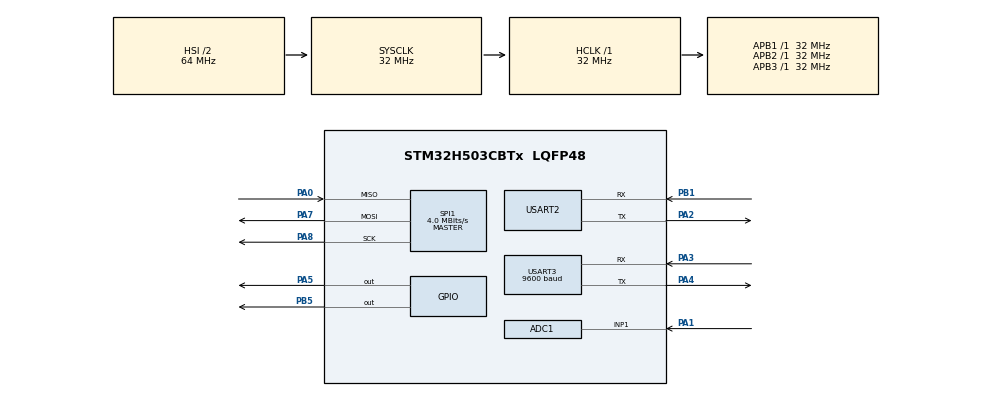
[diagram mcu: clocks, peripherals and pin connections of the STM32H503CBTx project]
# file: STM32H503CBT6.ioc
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ADC1.Channel-1\#ChannelRegularConversion=ADC_CHANNEL_1
ADC1.ContinuousConvMode=ENABLE
ADC1.MonitoredBy-1\#ChannelRegularConversion=__NULL
ADC1.NbrOfConversionFlag=1
ADC1.OffsetNumber-1\#ChannelRegularConversion=ADC_OFFSET_NONE
ADC1.Rank-1\#ChannelRegularConversion=1
ADC1.Resolution=ADC_RESOLUTION_12B
ADC1.SamplingTime-1\#ChannelRegularConversion=ADC_SAMPLETIME_2CYCLES_5
ADC1.master=1
BOOTPATH.BootPathName=LEGACY
BOOTPATH.UserSelectedBootPath=LEGACY
GPDMA1.LINKEDLISTMODE_GPDMACH1=DMA_LINKEDLIST_CIRCULAR
GPDMA1.LINKSTEPMODE_GPDMACH1=DMA_LSM_1LINK_EXECUTION
GPDMA1.PRIORITY_LL_GPDMACH1=DMA_LOW_PRIORITY_HIGH_WEIGHT
Linkedlist.MDMA_Channel0.GP_SW.0.ADDRESSING2D=DISABLE
Linkedlist.MDMA_Channel0.GP_SW.0.BlkHWRequest=DMA_BREQ_SINGLE_BURST
Linkedlist.MDMA_Channel0.GP_SW.0.DataHandling=NONE
Linkedlist.MDMA_Channel0.GP_SW.0.DataSize=0
Linkedlist.MDMA_Channel0.GP_SW.0.DestBurstLength=1
Linkedlist.MDMA_Channel0.GP_SW.0.DestDataWidth=DMA_DEST_DATAWIDTH_BYTE
Linkedlist.MDMA_Channel0.GP_SW.0.DestInc=DMA_DINC_FIXED
Linkedlist.MDMA_Channel0.GP_SW.0.Direction=DMA_MEMORY_TO_MEMORY
Linkedlist.MDMA_Channel0.GP_SW.0.DstAddress=0
Linkedlist.MDMA_Channel0.GP_SW.0.Instance=MDMA_Channel0
Linkedlist.MDMA_Channel0.GP_SW.0.LL_MASTERDMA=GPDMA1_2D
Linkedlist.MDMA_Channel0.GP_SW.0.LL_NAME=YourQueueName
Linkedlist.MDMA_Channel0.GP_SW.0.LL_TYPE=LINEAR
Linkedlist.MDMA_Channel0.GP_SW.0.Mode=DMA_NORMAL
Linkedlist.MDMA_Channel0.GP_SW.0.NODE_NAME=YourNodeName
Linkedlist.MDMA_Channel0.GP_SW.0.Requestforcodegen=DMA_REQUEST_SW
Linkedlist.MDMA_Channel0.GP_SW.0.SrcAddress=0
Linkedlist.MDMA_Channel0.GP_SW.0.SrcBurstLength=1
Linkedlist.MDMA_Channel0.GP_SW.0.SrcDataWidth=DMA_SRC_DATAWIDTH_BYTE
Linkedlist.MDMA_Channel0.GP_SW.0.SrcInc=DMA_SINC_FIXED
Linkedlist.MDMA_Channel0.GP_SW.0.TransferAllocatedPortSrc=DMA_SRC_ALLOCATED_PORT0
Linkedlist.MDMA_Channel0.GP_SW.0.TransferEventMode=DMA_TCEM_BLOCK_TRANSFER
Linkedlist.MDMA_Channel0.GP_SW.0.TriggerPolarity=DMA_TRIG_POLARITY_MASKED
Linkedlist.MDMA_Channel0.Request0=GP_SW
Linkedlist.MDMA_Channel0.RequestsNb=1
Linkedlist.RequestSet0=MDMA_Channel0
Linkedlist.RequestSetsNb=1
Mcu.Family=STM32H5
Mcu.Name=STM32H503CBTx
Mcu.Package=LQFP48
NVIC.PriorityGroup=NVIC_PRIORITYGROUP_4
PA0.Mode=Full_Duplex_Master
PA0.Signal=SPI1_MISO
PA1.Signal=ADCx_INP1
PA2.Mode=Asynchronous
PA2.Signal=USART2_TX
PA3.Mode=Asynchronous
PA3.Signal=USART3_RX
PA4.Mode=Asynchronous
PA4.Signal=USART3_TX
PA5.Signal=GPIO_Output
PA7.Mode=Full_Duplex_Master
PA7.Signal=SPI1_MOSI
PA8.Mode=Full_Duplex_Master
PA8.Signal=SPI1_SCK
PB1.Mode=Asynchronous
PB1.Signal=USART2_RX
PB13.Signal=I2C2_SDA
PB3(JTDO/TRACESWO).Signal=I2C2_SCL
PB5.Signal=GPIO_Output
ProjectManager.HeapSize=0x200
ProjectManager.StackSize=0x400
ProjectManager.TargetToolchain=STM32CubeIDE
RCC.ADCFreq_Value=32000000
RCC.AHBFreq_Value=32000000
RCC.APB1Freq_Value=32000000
RCC.APB1TimFreq_Value=32000000
RCC.APB2Freq_Value=32000000
RCC.APB2TimFreq_Value=32000000
RCC.APB3Freq_Value=32000000
RCC.CSI_VALUE=4000000
RCC.CortexFreq_Value=32000000
RCC.EPOD_VALUE=4000000
RCC.HCLKFreq_Value=32000000
RCC.HSE_VALUE=25000000
RCC.HSI48_VALUE=48000000
RCC.HSI_VALUE=64000000
RCC.LSE_VALUE=32768
RCC.LSIRC_VALUE=32000
RCC.PLLN=4
RCC.SYSCLKFreq_VALUE=32000000
RCC.USBFreq_Value=48000000
RCC.VCOOutputFreq_Value=16000000
SBS.VDDIO1=Enable
SBS.VDDIO22=Enable
SH.ADCx_INP1.0=ADC1_INP1,IN1-Single-Ended
SPI1.CalculateBaudRate=4.0 MBits/s
SPI1.Direction=SPI_DIRECTION_2LINES
SPI1.Mode=SPI_MODE_MASTER
SPI1.VirtualType=VM_MASTER
USART2.VirtualMode-Asynchronous=VM_ASYNC
USART3.BaudRate=9600
USART3.VirtualMode-Asynchronous=VM_ASYNC
VP_ADC1_Vref_Input.Mode=IN-Vrefint
VP_BOOTPATH_VS_BOOTPATH.Mode=BP_Activate
VP_CORTEX_M33_NS_VS_Hclk.Mode=Hclk_Mode
VP_GPDMA1_VS_GPDMACH1.Mode=LINKEDLIST_GPDMACH1
VP_GPDMA1_VS_GPDMACH7.Mode=LINKEDLIST_GPDMACH7
VP_MEMORYMAP_VS_MEMORYMAP.Mode=CurAppReg
VP_PWR_VS_DBSignals.Mode=DisableDeadBatterySignals
VP_PWR_VS_LPOM.Mode=PowerOptimisation
VP_PWR_VS_SECSignals.Mode=Security/Privilege
VP_SBS_VS-SBS.Mode=SBS
board=custom

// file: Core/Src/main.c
/* USER CODE BEGIN Header */
/**
 ******************************************************************************
 * @file           : main.c
 * @brief          : Main program body
 ******************************************************************************
 * @attention
 *
 * Copyright (c) 2024 STMicroelectronics.
 * All rights reserved.
 *
 * This software is licensed under terms that can be found in the LICENSE file
 * in the root directory of this software component.
 * If no LICENSE file comes with this software, it is provided AS-IS.
 *
 ******************************************************************************
 */
/* USER CODE END Header */
#include "main.h"

/* USER CODE BEGIN Includes */
#include <math.h>
#include <stdio.h>
#include <string.h>
#include <stdarg.h>
#include "lis2dw12.h"
#define PI 3.14159265
/* USER CODE END Includes */

ADC_HandleTypeDef hadc1;
DMA_HandleTypeDef handle_GPDMA1_Channel7;
DMA_HandleTypeDef handle_GPDMA1_Channel1;
SPI_HandleTypeDef hspi1;
UART_HandleTypeDef huart2;
UART_HandleTypeDef huart3;

void SystemClock_Config(void);
static void MX_GPIO_Init(void);
static void MX_GPDMA1_Init(void);
static void MX_USART2_UART_Init(void);
static void MX_USART3_UART_Init(void);
static void MX_SBS_Init(void);
static void MX_ADC1_Init(void);
static void MX_SPI1_Init(void);
/* USER CODE BEGIN PFP */
void USART3_ReceiveAndProcess(void);
void USART3_SendData(uint8_t *data, uint16_t size);
void run_motor_task(char *hex_string);
/* USER CODE END PFP */

/* USER CODE BEGIN 0 */
uint8_t countertick = 0;
int runMotorTask = 0;
int before;
char m1up[] = "D5D5FF0000020200000000";                         // backrise up
char m1dn[] = "D5D5FF0101000000000000";                         // backrise down
char m2up[] = "D5D5FF0000040400000000";                         // kneerise up
char m2dn[] = "D5D5FF0202000000000000";                         // kneerise down
char mhiloup[] = "D5D5FF0000080800000000";                      // HILO UP
char mhilodn[] = "D5D5FF0404000000000000";                      // HILO down
char mtrendup[] = "D5D5FF0000101000000000";                     // TREND UP
char mtrenddn[] = "D5D5FF0808000000000000";                     // TREND down
char wSetZero[] = "D5D5FF0000404000000000";                     // SET ZERO
//char WBedExitOnOf[] = "D5D5FF0000000040400000";             // BEDEXIT ON OF
char releaseControlBox[] = "D5D5FF0000000000000000";            // Release control box
char loadCellModeControlBox[] = "D5D5FF0000000000003030";       // Load Cell control box

uint16_t readValue;
uint32_t sumADC = 0;
LIS2DW12_Data_t accel_data;

void __io_putchar(char ch) {
	HAL_UART_Transmit(&huart2, (uint8_t *)&ch, 1, HAL_MAX_DELAY);
	//return ch;
}

/* USER CODE END 0 */

int main(void)
{

  /* MCU Configuration--------------------------------------------------------*/

  /* Reset of all peripherals, Initializes the Flash interface and the Systick. */
  HAL_Init();

  /* Configure the system clock */
  SystemClock_Config();

  /* Initialize all configured peripherals */
  MX_GPIO_Init();
  MX_GPDMA1_Init();
  MX_USART2_UART_Init();
  MX_USART3_UART_Init();
  MX_SBS_Init();
  MX_ADC1_Init();
  MX_SPI1_Init();
  /* USER CODE BEGIN 2 */
  //printf("UART3 Polling Example\n");

  // Start UART receive interrupt

  /* USER CODE END 2 */

  /* Infinite loop */
  while (1)
  {

	  /* USER CODE BEGIN 3 */
	  USART3_ReceiveAndProcess();
  }
  /* USER CODE END 3 */
}

void SystemClock_Config(void)
{
  RCC_OscInitTypeDef RCC_OscInitStruct = {0};
  RCC_ClkInitTypeDef RCC_ClkInitStruct = {0};

  /** Configure the main internal regulator output voltage
  */
  __HAL_PWR_VOLTAGESCALING_CONFIG(PWR_REGULATOR_VOLTAGE_SCALE3);

  while(!__HAL_PWR_GET_FLAG(PWR_FLAG_VOSRDY)) {}

  /** Initializes the RCC Oscillators according to the specified parameters
  * in the RCC_OscInitTypeDef structure.
  */
  RCC_OscInitStruct.OscillatorType = RCC_OSCILLATORTYPE_HSI|RCC_OSCILLATORTYPE_CSI;
  RCC_OscInitStruct.HSIState = RCC_HSI_ON;
  RCC_OscInitStruct.HSIDiv = RCC_HSI_DIV2;
  RCC_OscInitStruct.HSICalibrationValue = RCC_HSICALIBRATION_DEFAULT;
  RCC_OscInitStruct.CSIState = RCC_CSI_ON;
  RCC_OscInitStruct.CSICalibrationValue = RCC_CSICALIBRATION_DEFAULT;
  RCC_OscInitStruct.PLL.PLLState = RCC_PLL_ON;
  RCC_OscInitStruct.PLL.PLLSource = RCC_PLL1_SOURCE_CSI;
  RCC_OscInitStruct.PLL.PLLM = 1;
  RCC_OscInitStruct.PLL.PLLN = 4;
  RCC_OscInitStruct.PLL.PLLP = 2;
  RCC_OscInitStruct.PLL.PLLQ = 2;
  RCC_OscInitStruct.PLL.PLLR = 2;
  RCC_OscInitStruct.PLL.PLLRGE = RCC_PLL1_VCIRANGE_2;
  RCC_OscInitStruct.PLL.PLLVCOSEL = RCC_PLL1_VCORANGE_WIDE;
  RCC_OscInitStruct.PLL.PLLFRACN = 0;
  if (HAL_RCC_OscConfig(&RCC_OscInitStruct) != HAL_OK)
  {
    Error_Handler();
  }

  /** Initializes the CPU, AHB and APB buses clocks
  */
  RCC_ClkInitStruct.ClockType = RCC_CLOCKTYPE_HCLK|RCC_CLOCKTYPE_SYSCLK
                              |RCC_CLOCKTYPE_PCLK1|RCC_CLOCKTYPE_PCLK2
                              |RCC_CLOCKTYPE_PCLK3;
  RCC_ClkInitStruct.SYSCLKSource = RCC_SYSCLKSOURCE_HSI;
  RCC_ClkInitStruct.AHBCLKDivider = RCC_SYSCLK_DIV1;
  RCC_ClkInitStruct.APB1CLKDivider = RCC_HCLK_DIV1;
  RCC_ClkInitStruct.APB2CLKDivider = RCC_HCLK_DIV1;
  RCC_ClkInitStruct.APB3CLKDivider = RCC_HCLK_DIV1;

  if (HAL_RCC_ClockConfig(&RCC_ClkInitStruct, FLASH_LATENCY_1) != HAL_OK)
  {
    Error_Handler();
  }

  /** Configure the programming delay
  */
  __HAL_FLASH_SET_PROGRAM_DELAY(FLASH_PROGRAMMING_DELAY_0);
}

static void MX_ADC1_Init(void)
{

  ADC_ChannelConfTypeDef sConfig = {0};

  /** Common config
  */
  hadc1.Instance = ADC1;
  hadc1.Init.ClockPrescaler = ADC_CLOCK_ASYNC_DIV1;
  hadc1.Init.Resolution = ADC_RESOLUTION_12B;
  hadc1.Init.DataAlign = ADC_DATAALIGN_RIGHT;
  hadc1.Init.ScanConvMode = ADC_SCAN_DISABLE;
  hadc1.Init.EOCSelection = ADC_EOC_SINGLE_CONV;
  hadc1.Init.LowPowerAutoWait = DISABLE;
  hadc1.Init.ContinuousConvMode = ENABLE;
  hadc1.Init.NbrOfConversion = 1;
  hadc1.Init.DiscontinuousConvMode = DISABLE;
  hadc1.Init.ExternalTrigConv = ADC_SOFTWARE_START;
  hadc1.Init.ExternalTrigConvEdge = ADC_EXTERNALTRIGCONVEDGE_NONE;
  hadc1.Init.DMAContinuousRequests = DISABLE;
  hadc1.Init.SamplingMode = ADC_SAMPLING_MODE_NORMAL;
  hadc1.Init.Overrun = ADC_OVR_DATA_PRESERVED;
  hadc1.Init.OversamplingMode = DISABLE;
  if (HAL_ADC_Init(&hadc1) != HAL_OK)
  {
    Error_Handler();
  }

  /** Configure Regular Channel
  */
  sConfig.Channel = ADC_CHANNEL_1;
  sConfig.Rank = ADC_REGULAR_RANK_1;
  sConfig.SamplingTime = ADC_SAMPLETIME_2CYCLES_5;
  sConfig.SingleDiff = ADC_SINGLE_ENDED;
  sConfig.OffsetNumber = ADC_OFFSET_NONE;
  sConfig.Offset = 0;
  if (HAL_ADC_ConfigChannel(&hadc1, &sConfig) != HAL_OK)
  {
    Error_Handler();
  }

}

static void MX_GPDMA1_Init(void)
{

  /* Peripheral clock enable */
  __HAL_RCC_GPDMA1_CLK_ENABLE();

  handle_GPDMA1_Channel7.Instance = GPDMA1_Channel7;
  handle_GPDMA1_Channel7.InitLinkedList.Priority = DMA_LOW_PRIORITY_LOW_WEIGHT;
  handle_GPDMA1_Channel7.InitLinkedList.LinkStepMode = DMA_LSM_FULL_EXECUTION;
  handle_GPDMA1_Channel7.InitLinkedList.LinkAllocatedPort = DMA_LINK_ALLOCATED_PORT0;
  handle_GPDMA1_Channel7.InitLinkedList.TransferEventMode = DMA_TCEM_LAST_LL_ITEM_TRANSFER;
  handle_GPDMA1_Channel7.InitLinkedList.LinkedListMode = DMA_LINKEDLIST_NORMAL;
  if (HAL_DMAEx_List_Init(&handle_GPDMA1_Channel7) != HAL_OK)
  {
    Error_Handler();
  }
  if (HAL_DMA_ConfigChannelAttributes(&handle_GPDMA1_Channel7, DMA_CHANNEL_NPRIV) != HAL_OK)
  {
    Error_Handler();
  }
  handle_GPDMA1_Channel1.Instance = GPDMA1_Channel1;
  handle_GPDMA1_Channel1.InitLinkedList.Priority = DMA_LOW_PRIORITY_HIGH_WEIGHT;
  handle_GPDMA1_Channel1.InitLinkedList.LinkStepMode = DMA_LSM_1LINK_EXECUTION;
  handle_GPDMA1_Channel1.InitLinkedList.LinkAllocatedPort = DMA_LINK_ALLOCATED_PORT0;
  handle_GPDMA1_Channel1.InitLinkedList.TransferEventMode = DMA_TCEM_LAST_LL_ITEM_TRANSFER;
  handle_GPDMA1_Channel1.InitLinkedList.LinkedListMode = DMA_LINKEDLIST_CIRCULAR;
  if (HAL_DMAEx_List_Init(&handle_GPDMA1_Channel1) != HAL_OK)
  {
    Error_Handler();
  }
  if (HAL_DMA_ConfigChannelAttributes(&handle_GPDMA1_Channel1, DMA_CHANNEL_NPRIV) != HAL_OK)
  {
    Error_Handler();
  }

}

static void MX_SBS_Init(void)
{

}

static void MX_SPI1_Init(void)
{

  /* SPI1 parameter configuration*/
  hspi1.Instance = SPI1;
  hspi1.Init.Mode = SPI_MODE_MASTER;
  hspi1.Init.Direction = SPI_DIRECTION_2LINES;
  hspi1.Init.DataSize = SPI_DATASIZE_4BIT;
  hspi1.Init.CLKPolarity = SPI_POLARITY_LOW;
  hspi1.Init.CLKPhase = SPI_PHASE_1EDGE;
  hspi1.Init.NSS = SPI_NSS_SOFT;
  hspi1.Init.BaudRatePrescaler = SPI_BAUDRATEPRESCALER_2;
  hspi1.Init.FirstBit = SPI_FIRSTBIT_MSB;
  hspi1.Init.TIMode = SPI_TIMODE_DISABLE;
  hspi1.Init.CRCCalculation = SPI_CRCCALCULATION_DISABLE;
  hspi1.Init.CRCPolynomial = 0x7;
  hspi1.Init.NSSPMode = SPI_NSS_PULSE_ENABLE;
  hspi1.Init.NSSPolarity = SPI_NSS_POLARITY_LOW;
  hspi1.Init.FifoThreshold = SPI_FIFO_THRESHOLD_01DATA;
  hspi1.Init.MasterSSIdleness = SPI_MASTER_SS_IDLENESS_00CYCLE;
  hspi1.Init.MasterInterDataIdleness = SPI_MASTER_INTERDATA_IDLENESS_00CYCLE;
  hspi1.Init.MasterReceiverAutoSusp = SPI_MASTER_RX_AUTOSUSP_DISABLE;
  hspi1.Init.MasterKeepIOState = SPI_MASTER_KEEP_IO_STATE_DISABLE;
  hspi1.Init.IOSwap = SPI_IO_SWAP_DISABLE;
  hspi1.Init.ReadyMasterManagement = SPI_RDY_MASTER_MANAGEMENT_INTERNALLY;
  hspi1.Init.ReadyPolarity = SPI_RDY_POLARITY_HIGH;
  if (HAL_SPI_Init(&hspi1) != HAL_OK)
  {
    Error_Handler();
  }

}

static void MX_USART2_UART_Init(void)
{

  huart2.Instance = USART2;
  huart2.Init.BaudRate = 115200;
  huart2.Init.WordLength = UART_WORDLENGTH_8B;
  huart2.Init.StopBits = UART_STOPBITS_1;
  huart2.Init.Parity = UART_PARITY_NONE;
  huart2.Init.Mode = UART_MODE_TX_RX;
  huart2.Init.HwFlowCtl = UART_HWCONTROL_NONE;
  huart2.Init.OverSampling = UART_OVERSAMPLING_16;
  huart2.Init.OneBitSampling = UART_ONE_BIT_SAMPLE_DISABLE;
  huart2.Init.ClockPrescaler = UART_PRESCALER_DIV1;
  huart2.AdvancedInit.AdvFeatureInit = UART_ADVFEATURE_NO_INIT;
  if (HAL_UART_Init(&huart2) != HAL_OK)
  {
    Error_Handler();
  }
  if (HAL_UARTEx_SetTxFifoThreshold(&huart2, UART_TXFIFO_THRESHOLD_1_8) != HAL_OK)
  {
    Error_Handler();
  }
  if (HAL_UARTEx_SetRxFifoThreshold(&huart2, UART_RXFIFO_THRESHOLD_1_8) != HAL_OK)
  {
    Error_Handler();
  }
  if (HAL_UARTEx_DisableFifoMode(&huart2) != HAL_OK)
  {
    Error_Handler();
  }

}

static void MX_USART3_UART_Init(void)
{

  huart3.Instance = USART3;
  huart3.Init.BaudRate = 9600;
  huart3.Init.WordLength = UART_WORDLENGTH_8B;
  huart3.Init.StopBits = UART_STOPBITS_1;
  huart3.Init.Parity = UART_PARITY_NONE;
  huart3.Init.Mode = UART_MODE_TX_RX;
  huart3.Init.HwFlowCtl = UART_HWCONTROL_NONE;
  huart3.Init.OverSampling = UART_OVERSAMPLING_16;
  huart3.Init.OneBitSampling = UART_ONE_BIT_SAMPLE_DISABLE;
  huart3.Init.ClockPrescaler = UART_PRESCALER_DIV1;
  huart3.AdvancedInit.AdvFeatureInit = UART_ADVFEATURE_NO_INIT;
  if (HAL_UART_Init(&huart3) != HAL_OK)
  {
    Error_Handler();
  }
  if (HAL_UARTEx_SetTxFifoThreshold(&huart3, UART_TXFIFO_THRESHOLD_1_8) != HAL_OK)
  {
    Error_Handler();
  }
  if (HAL_UARTEx_SetRxFifoThreshold(&huart3, UART_RXFIFO_THRESHOLD_1_8) != HAL_OK)
  {
    Error_Handler();
  }
  if (HAL_UARTEx_DisableFifoMode(&huart3) != HAL_OK)
  {
    Error_Handler();
  }
  /* USER CODE BEGIN USART3_Init 2 */

	HAL_NVIC_SetPriority(USART3_IRQn, 0, 0);
	HAL_NVIC_EnableIRQ(USART3_IRQn);

	HAL_NVIC_SetPriority(USART3_IRQn, 0, 0);
	HAL_NVIC_EnableIRQ(USART3_IRQn);

  /* USER CODE END USART3_Init 2 */

}

static void MX_GPIO_Init(void)
{
  GPIO_InitTypeDef GPIO_InitStruct = {0};

  /* GPIO Ports Clock Enable */
  __HAL_RCC_GPIOA_CLK_ENABLE();
  __HAL_RCC_GPIOB_CLK_ENABLE();

  /*Configure GPIO pin Output Level */
  HAL_GPIO_WritePin(GPIOA, GPIO_PIN_5, GPIO_PIN_RESET);

  /*Configure GPIO pin Output Level */
  HAL_GPIO_WritePin(GPIOB, GPIO_PIN_5, GPIO_PIN_RESET);

  /*Configure GPIO pin : PA5 */
  GPIO_InitStruct.Pin = GPIO_PIN_5;
  GPIO_InitStruct.Mode = GPIO_MODE_OUTPUT_PP;
  GPIO_InitStruct.Pull = GPIO_NOPULL;
  GPIO_InitStruct.Speed = GPIO_SPEED_FREQ_LOW;
  HAL_GPIO_Init(GPIOA, &GPIO_InitStruct);

  /*Configure GPIO pin : PB13 */
  GPIO_InitStruct.Pin = GPIO_PIN_13;
  GPIO_InitStruct.Mode = GPIO_MODE_AF_OD;
  GPIO_InitStruct.Pull = GPIO_NOPULL;
  GPIO_InitStruct.Speed = GPIO_SPEED_FREQ_LOW;
  GPIO_InitStruct.Alternate = GPIO_AF4_I2C2;
  HAL_GPIO_Init(GPIOB, &GPIO_InitStruct);

  /*Configure GPIO pin : PB3 */
  GPIO_InitStruct.Pin = GPIO_PIN_3;
  GPIO_InitStruct.Mode = GPIO_MODE_AF_OD;
  GPIO_InitStruct.Pull = GPIO_NOPULL;
  GPIO_InitStruct.Speed = GPIO_SPEED_FREQ_LOW;
  GPIO_InitStruct.Alternate = GPIO_AF8_I2C2;
  HAL_GPIO_Init(GPIOB, &GPIO_InitStruct);

  /*Configure GPIO pin : PB5 */
  GPIO_InitStruct.Pin = GPIO_PIN_5;
  GPIO_InitStruct.Mode = GPIO_MODE_OUTPUT_PP;
  GPIO_InitStruct.Pull = GPIO_NOPULL;
  GPIO_InitStruct.Speed = GPIO_SPEED_FREQ_LOW;
  HAL_GPIO_Init(GPIOB, &GPIO_InitStruct);

}

/* USER CODE BEGIN 4 */

void USART3_ReceiveAndProcess(void) {
	static char previous_char = 0;
	char received_char = 0;

	// Mengatasi Overrun Error
	if (__HAL_UART_GET_FLAG(&huart3, UART_FLAG_ORE)) {
		__HAL_UART_CLEAR_OREFLAG(&huart3);
	}

	if (__HAL_UART_GET_FLAG(&huart3, UART_FLAG_RXNE)) {
		HAL_UART_Receive(&huart3, (uint8_t*)&received_char, 1, HAL_MAX_DELAY);
		countertick++;

		if (previous_char == 0x95 && received_char == 0x10) { 	// Jika kombinasi 0x95 diikuti oleh 0x10 diterima
			HAL_GPIO_WritePin(GPIOA, GPIO_PIN_5, 1);			// Toggle LED for debugging
			countertick = 0;
		}
		else{
			HAL_GPIO_WritePin(GPIOA, GPIO_PIN_5, 0);
		}

		if(countertick == 16){
			run_motor_task(m1dn);
			//run_motor_task(wSetZero);
		}

		previous_char = received_char;
		//printf("Received: 0x%02X |", received_char);
		//printf("countertick : %d\n", countertick);
	}
	// Mengatasi Overrun Error Kembali
	if (__HAL_UART_GET_FLAG(&huart3, UART_FLAG_ORE)) {
		__HAL_UART_CLEAR_OREFLAG(&huart3);
	}
}

uint8_t hex_char_to_byte(char hex_char){
    if (hex_char >= '0' && hex_char <= '9'){
        return hex_char - '0';
    }
    else if (hex_char >= 'A' && hex_char <= 'F'){
        return hex_char - 'A' + 10;
    }
    else if (hex_char >= 'a' && hex_char <= 'f'){
        return hex_char - 'a' + 10;
    }
    return 0;
}

void USART3_SendByte(uint8_t byte) {
    while (__HAL_UART_GET_FLAG(&huart3, UART_FLAG_TXE) == RESET); 	// Tunggu hingga TX buffer kosong
    HAL_UART_Transmit(&huart3, &byte, 1, HAL_MAX_DELAY);			// Kirim byte
    while (__HAL_UART_GET_FLAG(&huart3, UART_FLAG_TC) == RESET); 	// Tunggu hingga transmisi selesai
}

void run_motor_task(char *hex_string) {
    size_t length = strlen(hex_string); // Asumsikan bahwa hex_string adalah string hex dengan panjang genap
    if (length % 2 != 0) {
        return; // Jika panjang tidak genap, return karena hex harus dipasangkan
    }

    for (size_t i = 0; i < length; i += 2) {
        uint8_t byte = (hex_char_to_byte(hex_string[i]) << 4) | hex_char_to_byte(hex_string[i + 1]); // Ambil 2 karakter hex dan konversi menjadi byte

        USART3_SendByte(byte);
    }

    // Tunggu sampai transmisi selesai menggunakan HAL
    while (__HAL_UART_GET_FLAG(&huart3, UART_FLAG_TC) == RESET);
}

/* USER CODE END 4 */

void Error_Handler(void)
{
	__disable_irq();
	while (1)
	{
	}
}
